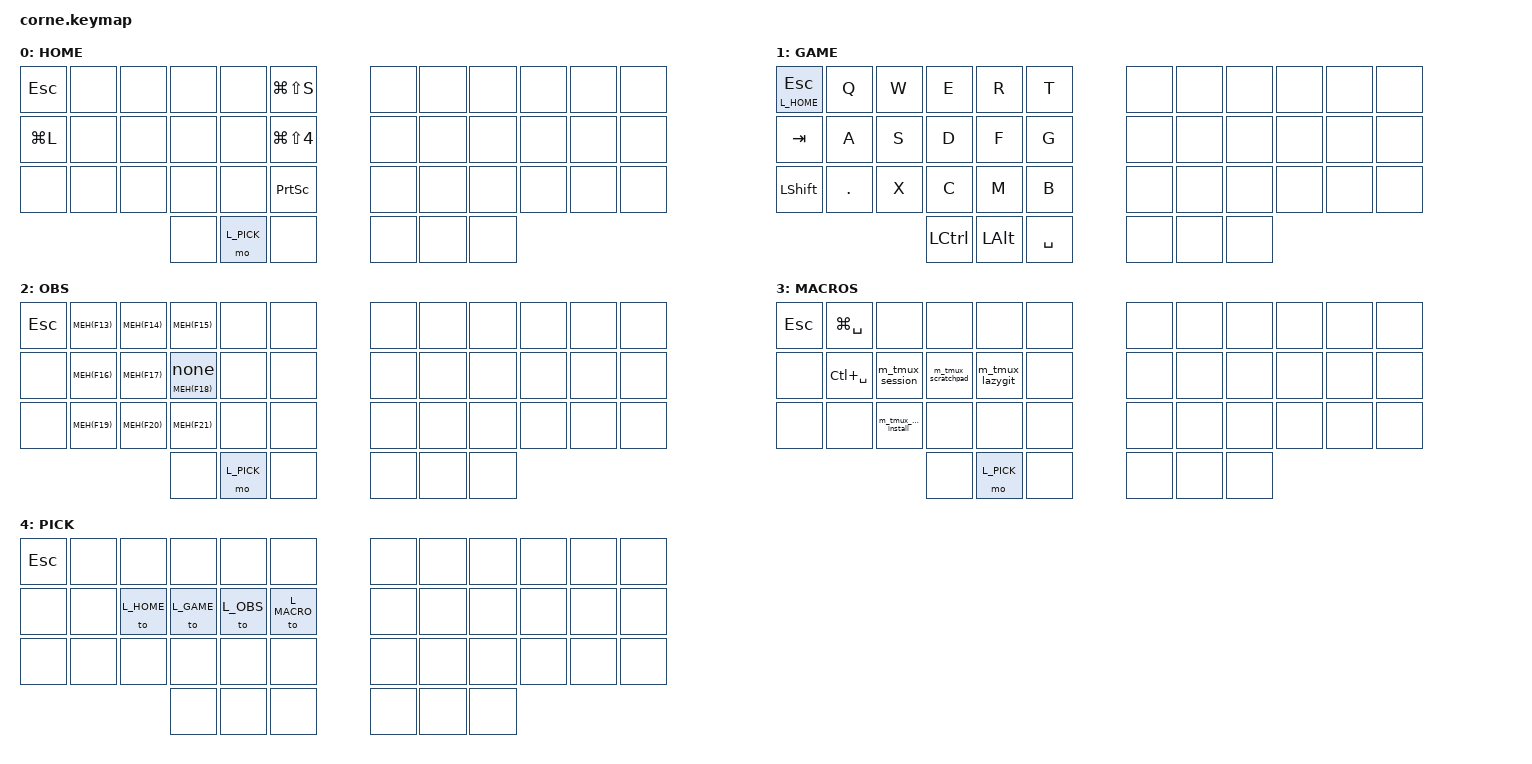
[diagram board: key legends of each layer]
/*
 * Corne (crkbd) macropad keymap.
 *
 * Five layers, switched with a held picker thumb. Every position of every layer is
 * written out: there is deliberately NO transparent key anywhere, so nothing falls
 * through to the default layer underneath (scripts/lint-keymap.sh enforces this in CI).
 *
 *   0 HOME    default. Lock / screenshots. Reboot, deep sleep and leaving GAME land here.
 *   1 GAME    left half only, all three thumbs are game keys, no layer key except the
 *             2.2 s hold-to-exit on the Esc key.
 *   2 OBS     scene / record / stream / audio keys, sent as Ctrl+Shift+Alt+F13..F21
 *             (see docs/macropad.md for the chord table).
 *   3 MACROS  GUI+Space and tmux prefix chords (prefix = C-Space, see the user's tmux.conf).
 *   4 PICK    reached by HOLDING the left middle thumb on HOME / OBS / MACROS;
 *             tap a key to jump to a layer.
 *
 * Esc is the top-left key on every layer. Unused keys are &none.
 * The previous typing keymap is kept in git under the tag typing-v1.
 */

#include <behaviors.dtsi>
#include <dt-bindings/zmk/keys.h>

/* NB: not HOME/OBS/...: HOME is already the Home keycode in keys.h */
#define L_HOME  0
#define L_GAME  1
#define L_OBS   2
#define L_MACRO 3
#define L_PICK  4

/* "Meh" chord (Ctrl+Shift+Alt+key): unique, collision-free keys for OBS / host scripts */
#define MEH(k) LC(LS(LA(k)))

/ {
    behaviors {
        /* Esc key on GAME: tap = Esc, hold 2.2 s = back to HOME.
         * tap-preferred: no other key press can turn this into the hold, only the timer.
         * Releasing before 2.2 s sends Esc. */
        game_exit: game_exit {
            compatible = "zmk,behavior-hold-tap";
            #binding-cells = <2>;
            flavor = "tap-preferred";
            tapping-term-ms = <2200>;
            bindings = <&to>, <&kp>;
        };

        /* guard for keys you must not hit by accident (STREAM): hold 0.7 s to fire,
         * a plain tap does nothing. Usage: &hold_kp <keycode> 0   (0 = dummy tap param) */
        hold_kp: hold_kp {
            compatible = "zmk,behavior-hold-tap";
            #binding-cells = <2>;
            flavor = "tap-preferred";
            tapping-term-ms = <700>;
            bindings = <&kp>, <&none>;
        };
    };

    /* tmux prefix is C-Space. Explicit gaps so the two keys never depend on defaults. */
    macros {
        m_tmux_session: m_tmux_session {        /* prefix s : fzf session switch */
            compatible = "zmk,behavior-macro"; #binding-cells = <0>;
            wait-ms = <30>; tap-ms = <30>;
            bindings = <&kp LC(SPACE) &kp S>;
        };
        m_tmux_scratchpad: m_tmux_scratchpad {  /* prefix C-n : tpad scratchpad */
            compatible = "zmk,behavior-macro"; #binding-cells = <0>;
            wait-ms = <30>; tap-ms = <30>;
            bindings = <&kp LC(SPACE) &kp LC(N)>;
        };
        m_tmux_lazygit: m_tmux_lazygit {        /* prefix C-g : tpad lazygit */
            compatible = "zmk,behavior-macro"; #binding-cells = <0>;
            wait-ms = <30>; tap-ms = <30>;
            bindings = <&kp LC(SPACE) &kp LC(G)>;
        };
        m_tmux_tpm_install: m_tmux_tpm_install { /* prefix I : tpm install plugins */
            compatible = "zmk,behavior-macro"; #binding-cells = <0>;
            wait-ms = <30>; tap-ms = <30>;
            bindings = <&kp LC(SPACE) &kp LS(I)>;
        };
    };

    keymap {
        compatible = "zmk,keymap";

        /* ===================================== HOME =====================================
         *  ESC   .    .    .    .   SHOT-WIN |  .  .  .  .  .  .
         *  LOCK  .    .    .    .   SHOT-MAC |  .  .  .  .  .  .
         *  .     .    .    .    .   SHOT-LNX |  .  .  .  .  .  .
         *             .  [PICK]  .           |  .  .  .
         *  LOCK = Win+L.  Screenshots: Win+Shift+S / Cmd+Shift+4 / PrintScreen (flameshot)
         * ============================================================================== */
        home_layer {
            display-name = "HOME";
            bindings = <
   &kp ESC      &none  &none  &none  &none  &kp LG(LS(S))     &none  &none  &none  &none  &none  &none
   &kp LG(L)    &none  &none  &none  &none  &kp LG(LS(N4))    &none  &none  &none  &none  &none  &none
   &none        &none  &none  &none  &none  &kp PSCRN         &none  &none  &none  &none  &none  &none
                              &none  &mo L_PICK  &none        &none  &none  &none
            >;
        };

        /* ===================================== GAME =====================================
         *  ESC*  Q    W    E    R    T  |  .  .  .  .  .  .     * tap = Esc, hold 2.2 s = HOME
         *  TAB   A    S    D    F    G  |  .  .  .  .  .  .
         *  LSFT  .    X    C    M    B  |  .  .  .  .  .  .
         *            LCTRL  LALT  SPACE |  .  .  .
         *  No layer / output / system key on this layer except the Esc hold-to-exit.
         * ============================================================================== */
        game_layer {
            display-name = "GAME";
            bindings = <
   &game_exit L_HOME ESC  &kp Q    &kp W  &kp E  &kp R  &kp T         &none  &none  &none  &none  &none  &none
   &kp TAB                &kp A    &kp S  &kp D  &kp F  &kp G         &none  &none  &none  &none  &none  &none
   &kp LSHFT              &kp DOT  &kp X  &kp C  &kp M  &kp B         &none  &none  &none  &none  &none  &none
                                   &kp LCTRL  &kp LALT  &kp SPACE     &none  &none  &none
            >;
        };

        /* ===================================== OBS ======================================
         *  ESC  SCENE1 SCENE2 SCENE3  .  . |  .  .  .  .  .  .
         *  .    REC    PAUSE  STREAM* .  . |  .  .  .  .  .  .
         *  .    MIC    DESK   REPLAY  .  . |  .  .  .  .  .  .
         *            .     [PICK]    .     |  .  .  .
         *  Chords Ctrl+Shift+Alt+F13..F21 (F13-15 scenes, F16 rec, F17 pause, F18 stream,
         *  F19 mic, F20 desktop audio, F21 replay). * = hold 0.7 s.
         * ============================================================================== */
        obs_layer {
            display-name = "OBS";
            bindings = <
   &kp ESC  &kp MEH(F13)  &kp MEH(F14)  &kp MEH(F15)            &none  &none     &none  &none  &none  &none  &none  &none
   &none    &kp MEH(F16)  &kp MEH(F17)  &hold_kp MEH(F18) 0     &none  &none     &none  &none  &none  &none  &none  &none
   &none    &kp MEH(F19)  &kp MEH(F20)  &kp MEH(F21)            &none  &none     &none  &none  &none  &none  &none  &none
                                  &none  &mo L_PICK  &none                       &none  &none  &none
            >;
        };

        /* ==================================== MACROS ====================================
         *  ESC  GUI+SPC   .         .             .          .  |  .  .  .  .  .  .
         *  .    T-PFX     T-SESS    T-SCRATCH     T-LAZYGIT  .  |  .  .  .  .  .  .
         *  .    .         T-TPM-I   .             .          .  |  .  .  .  .  .  .
         *             .     [PICK]     .                       |  .  .  .
         * ============================================================================== */
        macro_layer {
            display-name = "MACROS";
            bindings = <
   &kp ESC  &kp LG(SPACE)   &none                &none                  &none               &none     &none  &none  &none  &none  &none  &none
   &none    &kp LC(SPACE)   &m_tmux_session      &m_tmux_scratchpad     &m_tmux_lazygit     &none     &none  &none  &none  &none  &none  &none
   &none    &none           &m_tmux_tpm_install  &none                  &none               &none     &none  &none  &none  &none  &none  &none
                                      &none  &mo L_PICK  &none                                       &none  &none  &none
            >;
        };

        /* ===================================== PICK =====================================
         *  Hold the left middle thumb, tap a target:  S = HOME  D = GAME  F = OBS  G = MACROS
         * ============================================================================== */
        pick_layer {
            display-name = "PICK";
            bindings = <
   &kp ESC  &none  &none        &none        &none       &none          &none  &none  &none  &none  &none  &none
   &none    &none  &to L_HOME   &to L_GAME   &to L_OBS   &to L_MACRO    &none  &none  &none  &none  &none  &none
   &none    &none  &none        &none        &none       &none          &none  &none  &none  &none  &none  &none
                                &none  &none  &none                     &none  &none  &none
            >;
        };
    };
};
